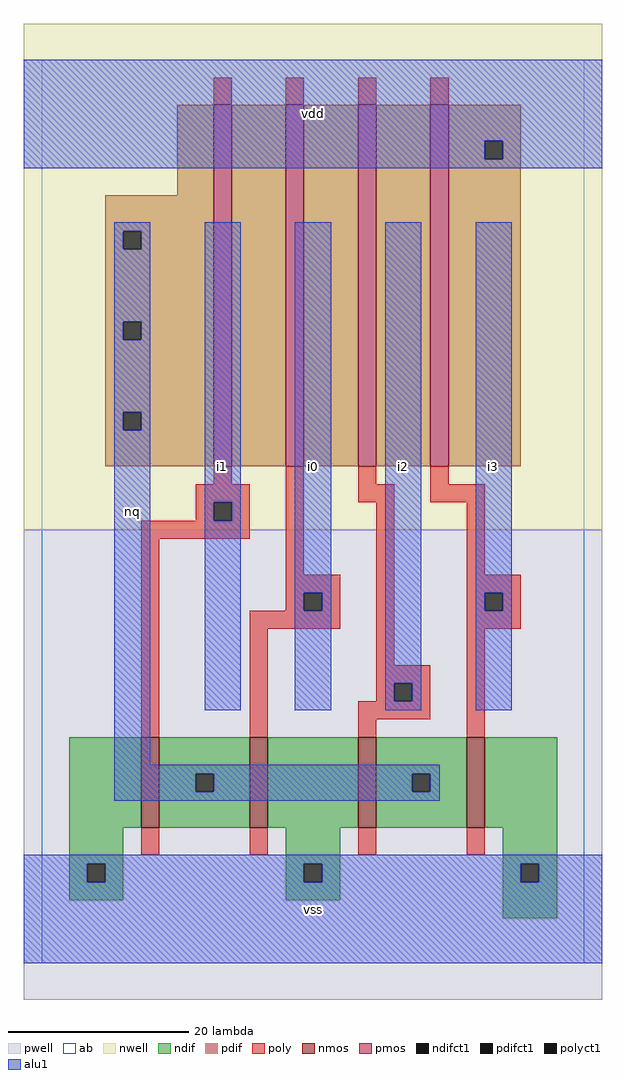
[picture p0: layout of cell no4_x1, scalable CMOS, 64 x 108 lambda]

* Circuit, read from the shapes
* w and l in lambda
.subckt no4_x1 i0 i1 i2 i3 nq vdd vss
M1 nq i1 vss VSUBS nfet w=10 l=2
M2 vss i0 nq VSUBS nfet w=10 l=2
M3 nq i2 vss VSUBS nfet w=10 l=2
M4 vss i3 nq VSUBS nfet w=10 l=2
M5 n1 i1 nq n2 pfet w=40 l=2
M6 n3 i0 n1 n2 pfet w=40 l=2
M7 n4 i2 n3 n2 pfet w=40 l=2
M8 vdd i3 n4 n2 pfet w=40 l=2
.ends

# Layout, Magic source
magic
tech scmos
<< ab >>
rect 0 0 60 100
<< nwell >>
rect -2 48 62 104
<< pwell >>
rect -2 -4 62 48
<< poly >>
rect 19 95 21 98
rect 27 95 29 98
rect 35 95 37 98
rect 43 95 45 98
rect 19 53 21 55
rect 17 51 23 53
rect 17 49 19 51
rect 21 49 23 51
rect 11 47 23 49
rect 11 25 13 47
rect 27 43 29 55
rect 35 53 37 55
rect 43 53 45 55
rect 35 51 39 53
rect 43 51 49 53
rect 27 41 33 43
rect 27 39 29 41
rect 31 39 33 41
rect 23 37 33 39
rect 23 25 25 37
rect 37 33 39 51
rect 47 43 49 51
rect 47 41 53 43
rect 47 39 49 41
rect 51 39 53 41
rect 47 37 53 39
rect 37 31 43 33
rect 37 29 39 31
rect 41 29 43 31
rect 35 27 43 29
rect 35 25 37 27
rect 47 25 49 37
rect 11 12 13 15
rect 23 12 25 15
rect 35 12 37 15
rect 47 12 49 15
<< ndif >>
rect 3 15 11 25
rect 13 21 23 25
rect 13 19 17 21
rect 19 19 23 21
rect 13 15 23 19
rect 25 15 35 25
rect 37 21 47 25
rect 37 19 41 21
rect 43 19 47 21
rect 37 15 47 19
rect 49 15 57 25
rect 3 11 9 15
rect 3 9 5 11
rect 7 9 9 11
rect 3 7 9 9
rect 27 11 33 15
rect 27 9 29 11
rect 31 9 33 11
rect 27 7 33 9
rect 51 11 57 15
rect 51 9 53 11
rect 55 9 57 11
rect 51 5 57 9
<< pdif >>
rect 15 85 19 95
rect 7 81 19 85
rect 7 79 9 81
rect 11 79 19 81
rect 7 71 19 79
rect 7 69 9 71
rect 11 69 19 71
rect 7 61 19 69
rect 7 59 9 61
rect 11 59 19 61
rect 7 55 19 59
rect 21 55 27 95
rect 29 55 35 95
rect 37 55 43 95
rect 45 91 53 95
rect 45 89 49 91
rect 51 89 53 91
rect 45 55 53 89
<< alu1 >>
rect -2 91 62 100
rect -2 89 49 91
rect 51 89 62 91
rect -2 88 62 89
rect 8 81 12 82
rect 8 79 9 81
rect 11 79 12 81
rect 8 71 12 79
rect 8 69 9 71
rect 11 69 12 71
rect 8 61 12 69
rect 8 59 9 61
rect 11 59 12 61
rect 8 22 12 59
rect 18 51 22 82
rect 18 49 19 51
rect 21 49 22 51
rect 18 28 22 49
rect 28 41 32 82
rect 28 39 29 41
rect 31 39 32 41
rect 28 28 32 39
rect 38 31 42 82
rect 38 29 39 31
rect 41 29 42 31
rect 38 28 42 29
rect 48 41 52 82
rect 48 39 49 41
rect 51 39 52 41
rect 48 28 52 39
rect 8 21 44 22
rect 8 19 17 21
rect 19 19 41 21
rect 43 19 44 21
rect 8 18 44 19
rect -2 11 62 12
rect -2 9 5 11
rect 7 9 29 11
rect 31 9 53 11
rect 55 9 62 11
rect -2 0 62 9
<< nmos >>
rect 11 15 13 25
rect 23 15 25 25
rect 35 15 37 25
rect 47 15 49 25
<< pmos >>
rect 19 55 21 95
rect 27 55 29 95
rect 35 55 37 95
rect 43 55 45 95
<< polyct1 >>
rect 19 49 21 51
rect 29 39 31 41
rect 49 39 51 41
rect 39 29 41 31
<< ndifct1 >>
rect 17 19 19 21
rect 41 19 43 21
rect 5 9 7 11
rect 29 9 31 11
rect 53 9 55 11
<< pdifct1 >>
rect 9 79 11 81
rect 9 69 11 71
rect 9 59 11 61
rect 49 89 51 91
<< labels >>
rlabel alu1 10 50 10 50 6 nq
rlabel alu1 20 55 20 55 6 i1
rlabel alu1 30 6 30 6 6 vss
rlabel alu1 40 55 40 55 6 i2
rlabel alu1 30 55 30 55 6 i0
rlabel alu1 30 94 30 94 6 vdd
rlabel alu1 50 55 50 55 6 i3
<< end >>
